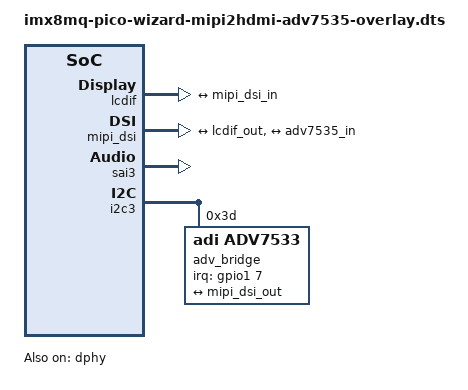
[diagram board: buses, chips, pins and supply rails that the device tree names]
/dts-v1/;
/plugin/;

#include "../imx8mq-pinfunc.h"
#include <dt-bindings/clock/imx8mq-clock.h>
#include <dt-bindings/interrupt-controller/irq.h>
#include <dt-bindings/gpio/gpio.h>

/* Dual HDMI output*/
/ {
	fragment@0 {
		target-path = "/";
		__overlay__ {
			sound-adv7535 {
				compatible = "simple-audio-card";
				simple-audio-card,name = "adv7535-hdmi";
				simple-audio-card,format = "i2s";
				simple-audio-card,bitclock-master = <&sound_master>;
				simple-audio-card,frame-master = <&sound_master>;
				sound_master: simple-audio-card,cpu {
					sound-dai = <&sai3>;
				};
				simple-audio-card,codec {
					sound-dai = <&adv_bridge>;
				};
			};
		};
	};

	fragment@1 {
		target = <&lcdif>;
		__overlay__ {
			status = "okay";
			max-memory-bandwidth = <221184000>; /* 1280x720-32@60 */
			assigned-clocks = <&clk IMX8MQ_CLK_LCDIF_PIXEL>,
						<&clk IMX8MQ_VIDEO_PLL1_BYPASS>,
						<&clk IMX8MQ_VIDEO_PLL1_REF_SEL>,
						<&clk IMX8MQ_VIDEO_PLL1>;
			assigned-clock-parents = <&clk IMX8MQ_VIDEO_PLL1_OUT>,
						 <&clk IMX8MQ_VIDEO_PLL1>,
						 <&clk IMX8MQ_CLK_27M>;
			assigned-clock-rate = <126000000>, <0>, <0>, <1134000000>;

			port@0 {
				lcdif_out: endpoint {
					remote-endpoint = <&mipi_dsi_in>;
				};
			};
		};
	};

	fragment@2 {
		target = <&mipi_dsi>;
		__overlay__ {
			status = "okay";

			ports {
				#address-cells = <1>;
				#size-cells = <0>;

				port@0 {
					reg = <0>;
					mipi_dsi_in: endpoint {
						remote-endpoint = <&lcdif_out>;
					};
				};

				port@1 {
					reg = <1>;
					mipi_dsi_out: endpoint {
						remote-endpoint = <&adv7535_in>;
						attach-bridge;
					};
				};
			};
		};
	};

	fragment@3 {
		target = <&dphy>;
		 __overlay__ {
			status = "okay";
		};
	};

	fragment@4 {
		target = <&iomuxc>;
		__overlay__ {
			pinctrl-names = "default";

			pinctrl_sai3: sai3grp {
				fsl,pins = <
					MX8MQ_IOMUXC_SAI3_TXFS_SAI3_TX_SYNC	0xd6
					MX8MQ_IOMUXC_SAI3_TXC_SAI3_TX_BCLK	0xd6
					MX8MQ_IOMUXC_SAI3_TXD_SAI3_TX_DATA0	0xd6
				>;
			};
		};
	};


	fragment@5 {
		target = <&sai3>;
		__overlay__ {
			#sound-dai-cells = <0>;
			pinctrl-names = "default";
			pinctrl-0 = <&pinctrl_sai3>;
			assigned-clocks = <&clk IMX8MQ_CLK_SAI3>;
			assigned-clock-parents = <&clk IMX8MQ_AUDIO_PLL1_OUT>;
			assigned-clock-rates = <24576000>;
			clocks = <&clk IMX8MQ_CLK_SAI3_IPG>, <&clk IMX8MQ_CLK_DUMMY>,
				<&clk IMX8MQ_CLK_SAI3_ROOT>, <&clk IMX8MQ_CLK_DUMMY>,
				<&clk IMX8MQ_CLK_DUMMY>, <&clk IMX8MQ_AUDIO_PLL1_OUT>,
				<&clk IMX8MQ_AUDIO_PLL2_OUT>;
			clock-names = "bus", "mclk0", "mclk1", "mclk2", "mclk3", "pll8k", "pll11k";
			status = "okay";
		};
	};

	fragment@6 {
		target = <&i2c3>;
		__overlay__ {
			#address-cells = <1>;
			#size-cells = <0>;
			status = "okay";
			adv_bridge: adv7535@3d {
				compatible = "adi,adv7533";
				reg = <0x3d>;
				adi,addr-cec = <0x3b>;
				adi,dsi-lanes = <4>;
				pinctrl-0 = <&pinctrl_touch_irq>;
				interrupt-parent = <&gpio1>;
				interrupts = <7 IRQ_TYPE_LEVEL_LOW>;
				status = "okay";
				#sound-dai-cells = <0>;

				port@0 {
					adv7535_in: endpoint {
						remote-endpoint = <&mipi_dsi_out>;
					};
				};
			};
		};
	};
};
